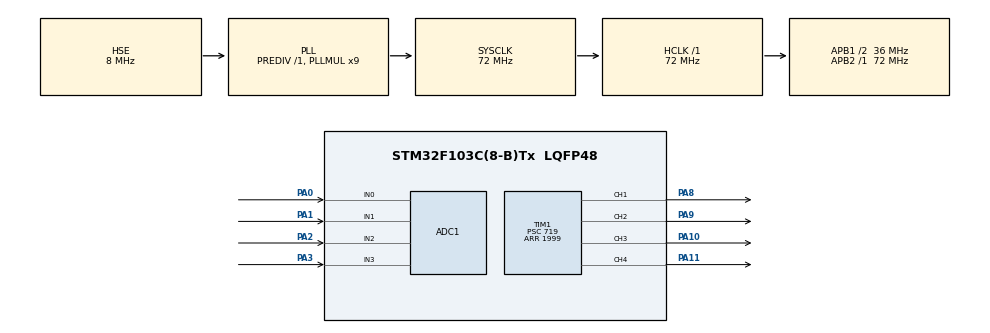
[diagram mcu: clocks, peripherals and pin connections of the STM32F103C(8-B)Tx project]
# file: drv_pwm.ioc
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ADC1.Channel-0\#ChannelRegularConversion=ADC_CHANNEL_0
ADC1.EnableAnalogWatchDog=false
ADC1.NbrOfConversionFlag=1
ADC1.Rank-0\#ChannelRegularConversion=1
ADC1.SamplingTime-0\#ChannelRegularConversion=ADC_SAMPLETIME_55CYCLES_5
ADC1.master=1
Mcu.Family=STM32F1
Mcu.Name=STM32F103C(8-B)Tx
Mcu.Package=LQFP48
NVIC.PriorityGroup=NVIC_PRIORITYGROUP_4
PA0-WKUP.Signal=ADCx_IN0
PA1.Signal=ADCx_IN1
PA10.Signal=S_TIM1_CH3
PA11.Signal=S_TIM1_CH4
PA13.Mode=Serial_Wire
PA13.Signal=SYS_JTMS-SWDIO
PA14.Mode=Serial_Wire
PA14.Signal=SYS_JTCK-SWCLK
PA2.Signal=ADCx_IN2
PA3.Signal=ADCx_IN3
PA8.GPIO_Speed=GPIO_SPEED_FREQ_HIGH
PA8.Signal=S_TIM1_CH1
PA9.Signal=S_TIM1_CH2
PD0-OSC_IN.Mode=HSE-External-Oscillator
PD0-OSC_IN.Signal=RCC_OSC_IN
PD1-OSC_OUT.Mode=HSE-External-Oscillator
PD1-OSC_OUT.Signal=RCC_OSC_OUT
ProjectManager.HeapSize=0x200
ProjectManager.StackSize=0x400
ProjectManager.TargetToolchain=STM32CubeIDE
RCC.ADCPresc=RCC_ADCPCLK2_DIV6
RCC.AHBFreq_Value=72000000
RCC.APB1CLKDivider=RCC_HCLK_DIV2
RCC.APB1Freq_Value=36000000
RCC.APB1TimFreq_Value=72000000
RCC.APB2Freq_Value=72000000
RCC.APB2TimFreq_Value=72000000
RCC.HCLKFreq_Value=72000000
RCC.PLLMUL=RCC_PLL_MUL9
RCC.PLLSourceVirtual=RCC_PLLSOURCE_HSE
RCC.SYSCLKFreq_VALUE=72000000
RCC.SYSCLKSource=RCC_SYSCLKSOURCE_PLLCLK
RCC.USBFreq_Value=72000000
SH.ADCx_IN0.0=ADC1_IN0,IN0
SH.ADCx_IN1.0=ADC1_IN1,IN1
SH.ADCx_IN2.0=ADC1_IN2,IN2
SH.ADCx_IN3.0=ADC1_IN3,IN3
SH.S_TIM1_CH1.0=TIM1_CH1,PWM Generation1 CH1
SH.S_TIM1_CH2.0=TIM1_CH2,PWM Generation2 CH2
SH.S_TIM1_CH3.0=TIM1_CH3,PWM Generation3 CH3
SH.S_TIM1_CH4.0=TIM1_CH4,PWM Generation4 CH4
TIM1.Channel-PWM\ Generation1\ CH1=TIM_CHANNEL_1
TIM1.Channel-PWM\ Generation2\ CH2=TIM_CHANNEL_2
TIM1.Channel-PWM\ Generation3\ CH3=TIM_CHANNEL_3
TIM1.Channel-PWM\ Generation4\ CH4=TIM_CHANNEL_4
TIM1.Period=1999
TIM1.Prescaler=719
TIM1.Pulse-PWM\ Generation1\ CH1=250
VP_TIM1_VS_ClockSourceINT.Mode=Internal
board=custom

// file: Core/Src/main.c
/* USER CODE BEGIN Header */
/**
  ******************************************************************************
  * @file           : main.c
  * @brief          : Main program body
  ******************************************************************************
  * @attention
  *
  * Copyright (c) 2026 STMicroelectronics.
  * All rights reserved.
  *
  * This software is licensed under terms that can be found in the LICENSE file
  * in the root directory of this software component.
  * If no LICENSE file comes with this software, it is provided AS-IS.
  *
  ******************************************************************************
  */
/* USER CODE END Header */
#include "main.h"
#include "adc.h"
#include "tim.h"
#include "gpio.h"

void SystemClock_Config(void);

/* USER CODE BEGIN 0 */
static void DRV_SelectChannel(uint8_t channel)
{
	ADC_ChannelConfTypeDef sConfig = {0};
	sConfig.Channel = channel;
	sConfig.Rank = ADC_REGULAR_RANK_1;
	sConfig.SamplingTime = ADC_SAMPLETIME_1CYCLE_5;
	if (HAL_ADC_ConfigChannel(&hadc1, &sConfig) != HAL_OK)
	{
		Error_Handler();
	}
}
/* USER CODE END 0 */

int main(void)
{

  /* USER CODE BEGIN 1 */
 	uint16_t X_axis = 0 ;
	uint16_t Y_axis = 0 ;
	uint16_t X1_axis = 0 ;
	uint16_t Y1_axis = 0 ;
	uint16_t agle   = 50 ;
	int16_t speed_x = 0 ;
	int16_t speed_y = 0 ;
	uint32_t current = 0 ;
	uint32_t previous = 0 ;
	uint8_t  adc_change_sate = 0 ;
  /* USER CODE END 1 */

  /* MCU Configuration--------------------------------------------------------*/

  /* Reset of all peripherals, Initializes the Flash interface and the Systick. */
  HAL_Init();

  /* Configure the system clock */
  SystemClock_Config();

  /* Initialize all configured peripherals */
  MX_GPIO_Init();
  MX_TIM1_Init();
  MX_ADC1_Init();
  /* USER CODE BEGIN 2 */
  float counter_servo1 = 150;
  float counter_servo2 = 150;
  float counter_servo3 = 150;
  float counter_servo4 = 150;
  HAL_TIM_Base_Start(&htim1);
  __HAL_TIM_SET_COMPARE(&htim1, TIM_CHANNEL_1, (uint32_t)counter_servo1);
  __HAL_TIM_SET_COMPARE(&htim1, TIM_CHANNEL_2, (uint32_t)counter_servo2);
  __HAL_TIM_SET_COMPARE(&htim1, TIM_CHANNEL_3, (uint32_t)counter_servo3);
  __HAL_TIM_SET_COMPARE(&htim1, TIM_CHANNEL_4, (uint32_t)counter_servo4);
  HAL_TIM_PWM_Start(&htim1, TIM_CHANNEL_1);
  HAL_TIM_PWM_Start(&htim1, TIM_CHANNEL_2);
  HAL_TIM_PWM_Start(&htim1, TIM_CHANNEL_3);
  HAL_TIM_PWM_Start(&htim1, TIM_CHANNEL_4);

  /* USER CODE END 2 */

  /* Infinite loop */
  /* USER CODE BEGIN WHILE */

    // Các biến cấu hình cho góc quay (Dựa trên hệ số của bạn)
    // Thông thường với Timer PWM 50Hz (20ms):
    // 0 độ tương ứng CCR khoảng 50 (1ms)
    // 180 độ tương ứng CCR khoảng 250 (2ms)

    float step = 1.0f;     // Bước nhảy (càng nhỏ càng mượt)
    int delay_ms = 15;     // Tốc độ quay (càng nhỏ càng nhanh)

    while (1)
    {
      /* USER CODE END WHILE */

      /* USER CODE BEGIN 3 */

      // --- CHIỀU ĐI: Từ 0 độ (CCR=50) đến 180 độ (CCR=250) ---
      for (float i = 50.0f; i <= 250.0f; i += step)
      {
          // Cập nhật cả 4 kênh cùng lúc
          __HAL_TIM_SET_COMPARE(&htim1, TIM_CHANNEL_1, (uint32_t)i);
          __HAL_TIM_SET_COMPARE(&htim1, TIM_CHANNEL_2, (uint32_t)i);
          __HAL_TIM_SET_COMPARE(&htim1, TIM_CHANNEL_3, (uint32_t)i);
          __HAL_TIM_SET_COMPARE(&htim1, TIM_CHANNEL_4, (uint32_t)i);

          HAL_Delay(delay_ms);
      }

      HAL_Delay(500); // Nghỉ một chút tại mốc 180 độ

      // --- CHIỀU VỀ: Từ 180 độ (CCR=250) về 0 độ (CCR=50) ---
      for (float i = 250.0f; i >= 50.0f; i -= step)
      {
          __HAL_TIM_SET_COMPARE(&htim1, TIM_CHANNEL_1, (uint32_t)i);
          __HAL_TIM_SET_COMPARE(&htim1, TIM_CHANNEL_2, (uint32_t)i);
          __HAL_TIM_SET_COMPARE(&htim1, TIM_CHANNEL_3, (uint32_t)i);
          __HAL_TIM_SET_COMPARE(&htim1, TIM_CHANNEL_4, (uint32_t)i);

          HAL_Delay(delay_ms);
      }

      HAL_Delay(500); // Nghỉ một chút tại mốc 0 độ

    }
    /* USER CODE END 3 */
}

void SystemClock_Config(void)
{
  RCC_OscInitTypeDef RCC_OscInitStruct = {0};
  RCC_ClkInitTypeDef RCC_ClkInitStruct = {0};
  RCC_PeriphCLKInitTypeDef PeriphClkInit = {0};

  /** Initializes the RCC Oscillators according to the specified parameters
  * in the RCC_OscInitTypeDef structure.
  */
  RCC_OscInitStruct.OscillatorType = RCC_OSCILLATORTYPE_HSE;
  RCC_OscInitStruct.HSEState = RCC_HSE_ON;
  RCC_OscInitStruct.HSEPredivValue = RCC_HSE_PREDIV_DIV1;
  RCC_OscInitStruct.HSIState = RCC_HSI_ON;
  RCC_OscInitStruct.PLL.PLLState = RCC_PLL_ON;
  RCC_OscInitStruct.PLL.PLLSource = RCC_PLLSOURCE_HSE;
  RCC_OscInitStruct.PLL.PLLMUL = RCC_PLL_MUL9;
  if (HAL_RCC_OscConfig(&RCC_OscInitStruct) != HAL_OK)
  {
    Error_Handler();
  }

  /** Initializes the CPU, AHB and APB buses clocks
  */
  RCC_ClkInitStruct.ClockType = RCC_CLOCKTYPE_HCLK|RCC_CLOCKTYPE_SYSCLK
                              |RCC_CLOCKTYPE_PCLK1|RCC_CLOCKTYPE_PCLK2;
  RCC_ClkInitStruct.SYSCLKSource = RCC_SYSCLKSOURCE_PLLCLK;
  RCC_ClkInitStruct.AHBCLKDivider = RCC_SYSCLK_DIV1;
  RCC_ClkInitStruct.APB1CLKDivider = RCC_HCLK_DIV2;
  RCC_ClkInitStruct.APB2CLKDivider = RCC_HCLK_DIV1;

  if (HAL_RCC_ClockConfig(&RCC_ClkInitStruct, FLASH_LATENCY_2) != HAL_OK)
  {
    Error_Handler();
  }
  PeriphClkInit.PeriphClockSelection = RCC_PERIPHCLK_ADC;
  PeriphClkInit.AdcClockSelection = RCC_ADCPCLK2_DIV6;
  if (HAL_RCCEx_PeriphCLKConfig(&PeriphClkInit) != HAL_OK)
  {
    Error_Handler();
  }
}

void Error_Handler(void)
{
  __disable_irq();
  while (1)
  {
  }
}
